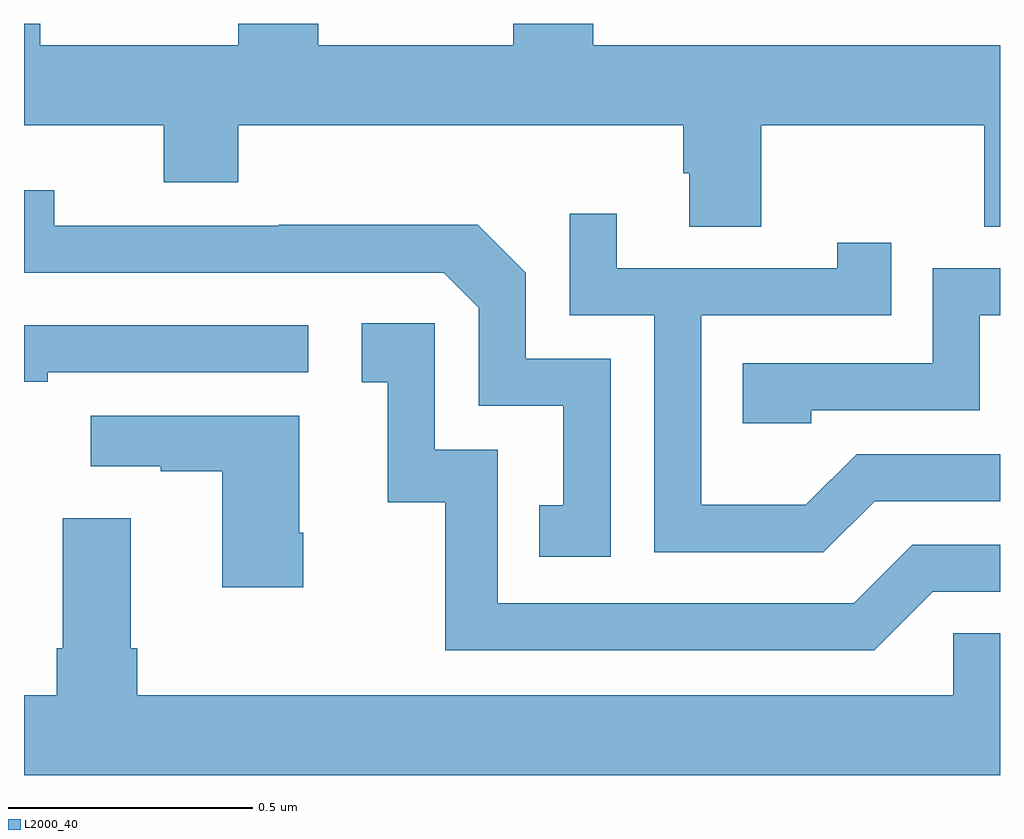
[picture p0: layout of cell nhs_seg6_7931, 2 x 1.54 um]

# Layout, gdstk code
import gdstk
lib = gdstk.Library(unit=1e-6, precision=1e-09)
def P(c, l, *ps):  # polygons
    for p in ps: c.add(gdstk.Polygon(p, *l))
L2000_40 = (2000, 40)

nhs_seg6_7931 = lib.new_cell('nhs_seg6_7931')
P(nhs_seg6_7931, L2000_40, [(215.511,991.292),(215.968,991.292),(215.968,991.084),(216,991.084),(216,991.456),(215.167,991.456),(215.167,991.5),(215.003,991.5),(215.003,991.456),(214.603,991.456),(214.603,991.5),(214.439,991.5),(214.439,991.456),(214.033,991.456),(214.033,991.5),(214,991.5),(214,991.292),(214.286,991.292),(214.286,991.175),(214.439,991.175),(214.439,991.292),(215.351,991.292),(215.351,991.194),(215.363,991.194),(215.363,991.084),(215.511,991.084)],
  [(215.202,990.813),(215.028,990.813),(215.028,990.99),(214.93,991.088),(214.522,991.088),(214.522,991.086),(214.062,991.086),(214.062,991.159),(214,991.159),(214,990.99),(214.86,990.99),(214.932,990.918),(214.932,990.717),(215.105,990.717),(215.105,990.513),(215.056,990.513),(215.056,990.408),(215.202,990.408)],
  [(215.743,990.522),(216,990.522),(216,990.618),(215.706,990.618),(215.602,990.514),(215.388,990.514),(215.388,990.903),(215.777,990.903),(215.777,991.051),(215.666,991.051),(215.666,990.999),(215.215,990.999),(215.215,991.111),(215.118,991.111),(215.118,990.903),(215.292,990.903),(215.292,990.417),(215.638,990.417)],
  [(215.613,990.708),(215.958,990.708),(215.958,990.903),(216,990.903),(216,990.999),(215.862,990.999),(215.862,990.804),(215.473,990.804),(215.473,990.681),(215.613,990.681)],
  [(215.862,990.336),(216,990.336),(216,990.432),(215.82,990.432),(215.7,990.312),(214.971,990.312),(214.971,990.627),(214.842,990.627),(214.842,990.886),(214.692,990.886),(214.692,990.765),(214.745,990.765),(214.745,990.519),(214.863,990.519),(214.863,990.216),(215.742,990.216)],
  [(214.049,990.786),(214.582,990.786),(214.582,990.882),(214,990.882),(214,990.766),(214.049,990.766)],
  [(214.572,990.457),(214.564,990.457),(214.564,990.697),(214.137,990.697),(214.137,990.593),(214.28,990.593),(214.28,990.583),(214.406,990.583),(214.406,990.345),(214.572,990.345)],
  [(216,990.251),(215.904,990.251),(215.904,990.124),(214.232,990.124),(214.232,990.22),(214.219,990.22),(214.219,990.487),(214.079,990.487),(214.079,990.22),(214.067,990.22),(214.067,990.124),(214,990.124),(214,989.96),(216,989.96)])

lib.write_gds('nhs_seg6_7931.gds')
